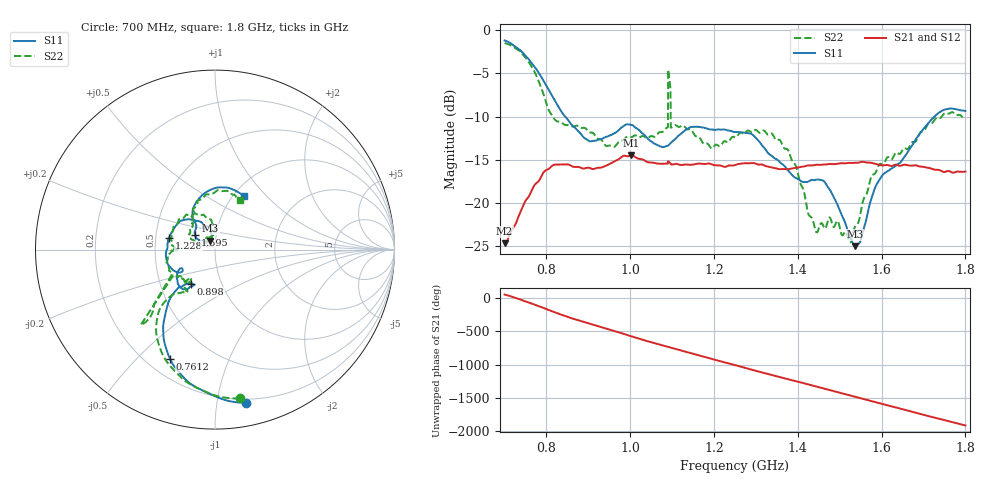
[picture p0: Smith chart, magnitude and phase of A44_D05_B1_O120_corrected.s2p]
! Created with skrf 1.9.0 (http://scikit-rf.org).
# Hz S RI R 50.0
!freq ReS11 ImS11 ReS21 ImS21 ReS12 ImS12 ReS22 ImS22
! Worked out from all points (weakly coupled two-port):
!   1601 points, 700 MHz to 1.8 GHz, reference 50 ohm
!   highest |S21| = -14.51 dB at 1.002 GHz (marker M1); lowest = -24.7 dB at 700 MHz (marker M2)
!   lowest |S11| = -25.0 dB at 1.537 GHz (marker M3), VSWR 1.12, Z = 47.2 + j4.73 ohm
!   |S11| at or under -10 dB: 844.5 MHz to 1.726 GHz (881.7 MHz wide, 68.6 % of centre)
!   |S22| runs from -24.6 to -1.5 dB; largest |S21 - S12| = 0.0034
!   S11 on the Smith chart (normalised r, x): 700 MHz: 0.17, -1.21; 761.2 MHz: 0.29, -0.63; 898 MHz: 0.72, -0.29; 1.228 GHz: 0.59, +0.08; 1.595 GHz: 0.79, +0.13; 1.8 GHz: 1.12, +0.76
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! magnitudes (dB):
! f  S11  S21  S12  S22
! 700 MHz  -1.2  -24.7  -24.4  -1.5
! 761.2 MHz  -3.6  -18.9  -18.8  -4.0
! 818.2 MHz  -8.0  -15.6  -15.7  -10.3
! 883.6 MHz  -12.1  -16.0  -15.9  -11.3
! 898 MHz  -12.7  -15.9  -16.0  -11.6
! 1.002 GHz  -10.9  -14.5  -14.6  -12.4
! 1.067 GHz  -13.3  -15.5  -15.4  -11.9
! 1.084 GHz  -13.5  -15.4  -15.4  -11.4
! 1.096 GHz  -13.1  -15.4  -15.5  -6.8
! 1.102 GHz  -12.8  -15.5  -15.5  -11.1
! 1.228 GHz  -11.5  -15.8  -15.7  -12.9
! 1.25 GHz  -11.8  -15.6  -15.5  -12.4
! 1.357 GHz  -15.3  -16.1  -16.0  -12.7
! 1.394 GHz  -17.1  -15.9  -15.9  -15.6
! 1.434 GHz  -17.3  -15.7  -15.6  -21.8
! 1.469 GHz  -18.0  -15.5  -15.5  -22.5
! 1.524 GHz  -23.9  -15.3  -15.3  -24.5
! 1.537 GHz  -25.0  -15.3  -15.3  -22.7
! 1.595 GHz  -17.3  -15.6  -15.6  -15.5
! 1.617 GHz  -16.2  -15.7  -15.6  -14.7
! 1.735 GHz  -9.6  -16.2  -16.2  -10.1
! 1.8 GHz  -9.4  -16.4  -16.4  -10.2
